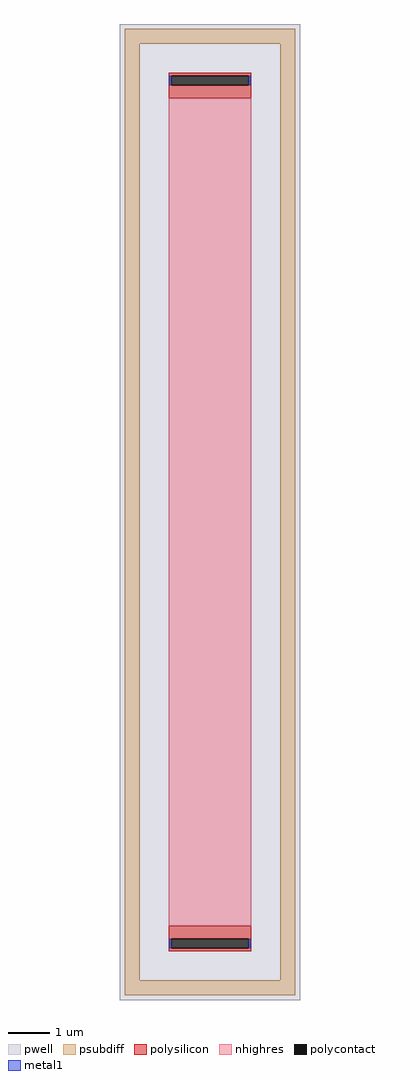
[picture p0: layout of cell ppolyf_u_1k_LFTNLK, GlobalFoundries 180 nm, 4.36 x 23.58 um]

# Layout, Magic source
magic
tech gf180mcuD
magscale 1 10
<< pwell >>
rect -436 -2358 436 2358
<< psubdiff >>
rect -412 2262 412 2334
rect -412 -2262 -340 2262
rect 340 -2262 412 2262
rect -412 -2334 412 -2262
<< polysilicon >>
rect -200 2109 200 2122
rect -200 2063 -187 2109
rect 187 2063 200 2109
rect -200 2000 200 2063
rect -200 -2063 200 -2000
rect -200 -2109 -187 -2063
rect 187 -2109 200 -2063
rect -200 -2122 200 -2109
<< polycontact >>
rect -187 2063 187 2109
rect -187 -2109 187 -2063
<< nhighres >>
rect -200 -2000 200 2000
<< metal1 >>
rect -198 2063 -187 2109
rect 187 2063 198 2109
rect -198 -2109 -187 -2063
rect 187 -2109 198 -2063
<< properties >>
string FIXED_BBOX -376 -2298 376 2298
string gencell ppolyf_u_1k
string library gf180mcu
string parameters w 2 l 20.000 m 1 nx 1 wmin 1.000 lmin 1.000 class resistor rho 1000 val 10.0k dummy 0 dw 0.0 term 0.0 sterm 0.0 caplen 0.4 snake 0 glc 0 grc 0 gtc 0 gbc 0 roverlap 0 endcov 100 full_metal 0 compatible {ppolyf_u_1k ppolyf_u_1k_6p0}
<< end >>
